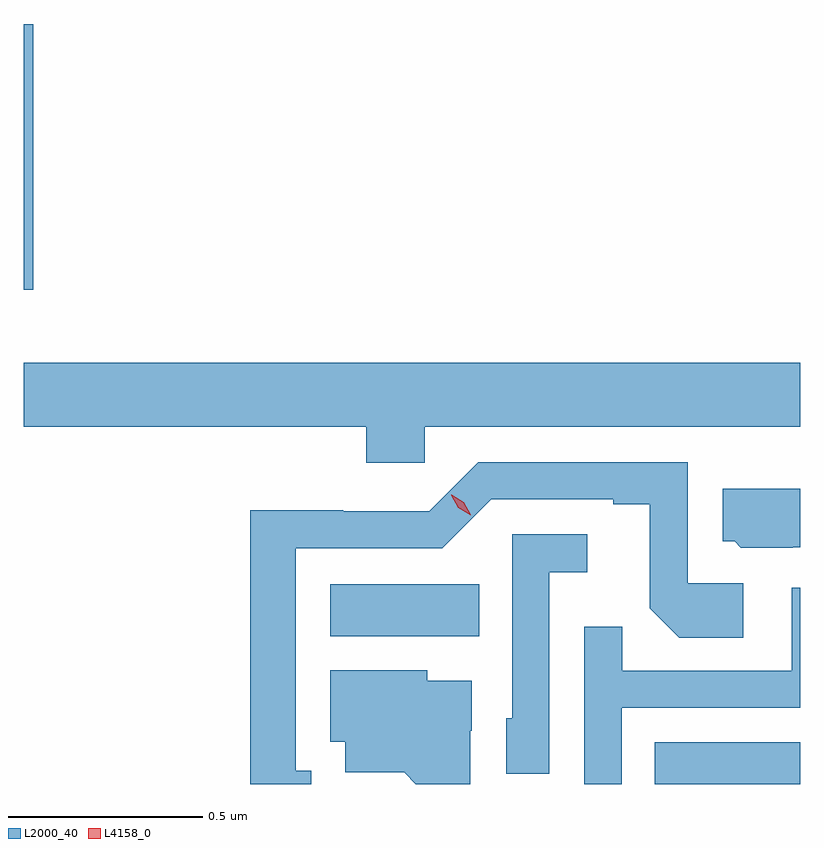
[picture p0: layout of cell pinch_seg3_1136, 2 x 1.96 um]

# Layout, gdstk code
import gdstk
lib = gdstk.Library(unit=1e-6, precision=1e-09)
def R(c, l, rs):  # rectangles x0, y0, x1, y1
    for r in rs: c.add(gdstk.rectangle(r[:2], r[2:], *l))
def P(c, l, *ps):  # polygons
    for p in ps: c.add(gdstk.Polygon(p, *l))
L2000_40 = (2000, 40)
L4158_0 = (4158, 0)

pinch_seg3_1136 = lib.new_cell('pinch_seg3_1136')
R(pinch_seg3_1136, L2000_40, [(319.36,698.663,319.735,698.77), (318.524,699.044,318.908,699.178), (317.735,699.936,317.759,700.621)])
P(pinch_seg3_1136, L2000_40, [(318.768,699.584),(319.735,699.584),(319.735,699.748),(317.735,699.748),(317.735,699.584),(318.617,699.584),(318.617,699.491),(318.768,699.491)],
  [(318.475,698.697),(318.436,698.697),(318.436,699.27),(318.813,699.27),(318.939,699.396),(319.253,699.396),(319.253,699.384),(319.347,699.384),(319.347,699.116),(319.423,699.04),(319.588,699.04),(319.588,699.18),(319.446,699.18),(319.446,699.492),(318.906,699.492),(318.78,699.366),(318.558,699.366),(318.558,699.368),(318.318,699.368),(318.318,698.663),(318.475,698.663)],
  [(319.716,699.273),(319.735,699.273),(319.735,699.424),(319.535,699.424),(319.535,699.288),(319.566,699.288),(319.582,699.272),(319.716,699.272)],
  [(319.089,699.209),(319.186,699.209),(319.186,699.306),(318.993,699.306),(318.993,698.832),(318.978,698.832),(318.978,698.689),(319.089,698.689)],
  [(319.275,698.859),(319.735,698.859),(319.735,699.169),(319.713,699.169),(319.713,698.955),(319.277,698.955),(319.277,699.068),(319.179,699.068),(319.179,698.663),(319.275,698.663)],
  [(318.885,698.8),(318.889,698.8),(318.889,698.929),(318.774,698.929),(318.774,698.956),(318.524,698.956),(318.524,698.772),(318.563,698.772),(318.563,698.693),(318.715,698.693),(318.745,698.663),(318.885,698.663)])
P(pinch_seg3_1136, L4158_0, [(318.886,699.356),(318.854,699.375),(318.836,699.407),(318.836,699.408),(318.837,699.408),(318.868,699.389),(318.886,699.357),(318.886,699.356)])

lib.write_gds('pinch_seg3_1136.gds')
